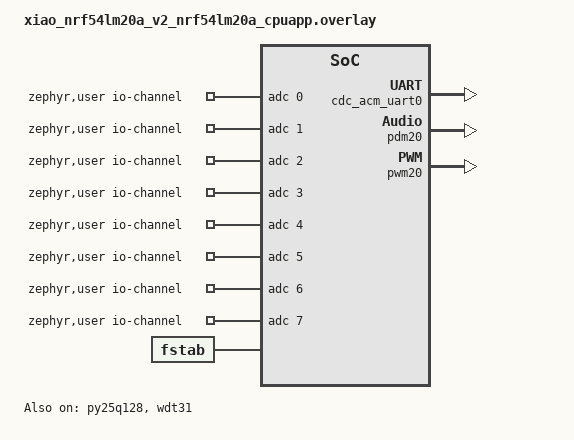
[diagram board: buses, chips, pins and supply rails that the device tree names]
/* XIAO nRF54LM20A V2.0 MicroPython application overlay.
 *
 * V2.0 reuses the XIAO nRF54LM20B PCB with the nRF54LM20A SoC (no SAMD11
 * USB-UART bridge): the application console and MicroPython REPL run on
 * the nRF54 native USB CDC ACM device.
 */

/ {
    chosen {
        zephyr,console = &cdc_acm_uart0;
        zephyr,shell-uart = &cdc_acm_uart0;
        zephyr,uart-mcumgr = &cdc_acm_uart0;
        zephyr,bt-mon-uart = &cdc_acm_uart0;
        zephyr,bt-c2h-uart = &cdc_acm_uart0;
    };

    zephyr,user {
        io-channels = <&adc 0>, <&adc 1>, <&adc 2>, <&adc 3>,
                       <&adc 4>, <&adc 5>, <&adc 6>, <&adc 7>;
    };
};

&zephyr_udc0 {
    cdc_acm_uart0: cdc_acm_uart0 {
        compatible = "zephyr,cdc-acm-uart";
        label = "XIAO nRF54LM20A V2 USB CDC ACM";
    };
};

/* The board revision overlay (_2_0_0.overlay) defines a second
 * zephyr,cdc-acm-uart node (cdc_acm_uart) for Zephyr's standalone CDC
 * serial backend, pulled in by the platform board Kconfig. MicroPython's
 * usbd.c owns the single USB device and registers one CDC ACM class per
 * enabled DT node, so leaving it on exposes TWO CDC interfaces with the
 * same VID:PID (two host COM ports) and opening the unused instance
 * kills the USB device (host write timeout, device gone until reset).
 * Disable it: MicroPython REPL is the only CDC this firmware exposes. */
&cdc_acm_uart {
    status = "disabled";
};

/* Remove the small internal-RRAM storage partition. */
/delete-node/ &storage_partition;

/* The board's user storage is the external 128-Mbit PY25Q128HA SPI NOR
 * (the part on the 20B PCB). Keep the MCUboot/app partitions in internal
 * RRAM and expose the external flash as the MicroPython filesystem block
 * device. */
&py25q128 {
	status = "okay";

	partitions {
		compatible = "fixed-partitions";
		#address-cells = <1>;
		#size-cells = <1>;

		storage_partition: partition@0 {
			label = "storage";
			reg = <0x0 0x1000000>;
		};
	};
};

/ {
    fstab {
        compatible = "zephyr,fstab";
        lfs1: lfs1 {
            compatible = "zephyr,fstab,littlefs";
            mount-point = "/flash";
            partition = <&storage_partition>;
            automount;
            read-size = <32>;
            prog-size = <32>;
            cache-size = <128>;
            lookahead-size = <64>;
            block-cycles = <2048>;
        };
    };
};

&pdm20 {
    status = "okay";
};

&pwm20 {
    status = "okay";
};

&wdt31 {
    status = "okay";
};
